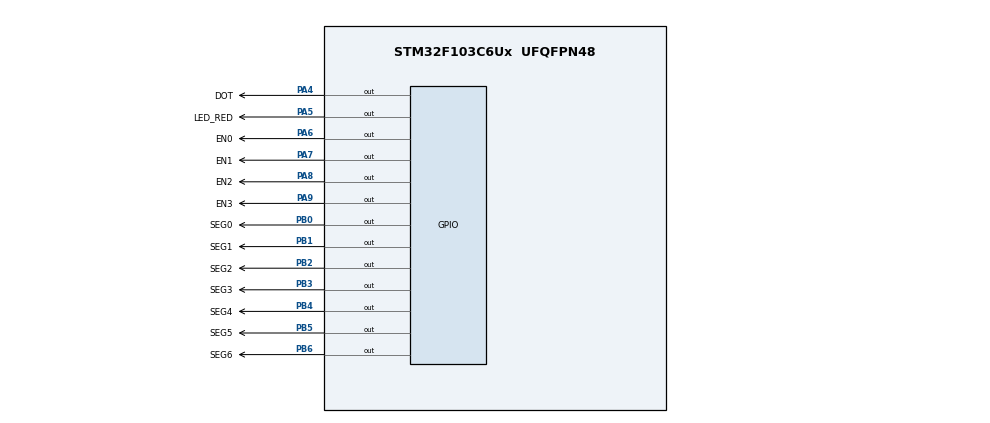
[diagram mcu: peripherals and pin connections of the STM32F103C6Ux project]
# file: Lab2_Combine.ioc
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Mcu.Family=STM32F1
Mcu.Name=STM32F103C6Ux
Mcu.Package=UFQFPN48
NVIC.PriorityGroup=NVIC_PRIORITYGROUP_4
NVIC.TIM2_IRQn=true\:0\:0\:false\:false\:true\:true\:true\:true
PA4.GPIO_Label=DOT
PA4.Signal=GPIO_Output
PA5.GPIO_Label=LED_RED
PA5.Signal=GPIO_Output
PA6.GPIO_Label=EN0
PA6.Signal=GPIO_Output
PA7.GPIO_Label=EN1
PA7.Signal=GPIO_Output
PA8.GPIO_Label=EN2
PA8.Signal=GPIO_Output
PA9.GPIO_Label=EN3
PA9.Signal=GPIO_Output
PB0.GPIO_Label=SEG0
PB0.Signal=GPIO_Output
PB1.GPIO_Label=SEG1
PB1.Signal=GPIO_Output
PB2.GPIO_Label=SEG2
PB2.Signal=GPIO_Output
PB3.GPIO_Label=SEG3
PB3.Signal=GPIO_Output
PB4.GPIO_Label=SEG4
PB4.Signal=GPIO_Output
PB5.GPIO_Label=SEG5
PB5.Signal=GPIO_Output
PB6.GPIO_Label=SEG6
PB6.Signal=GPIO_Output
ProjectManager.HeapSize=0x200
ProjectManager.StackSize=0x400
ProjectManager.TargetToolchain=STM32CubeIDE
RCC.APB1Freq_Value=8000000
RCC.APB2Freq_Value=8000000
TIM2.Period=9
TIM2.Prescaler=7999
VP_TIM2_VS_ClockSourceINT.Mode=Internal
board=custom

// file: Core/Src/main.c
/* USER CODE BEGIN Header */
/**
  ******************************************************************************
  * @file           : main.c
  * @brief          : Main program body
  ******************************************************************************
  * @attention
  *
  * Copyright (c) 2022 STMicroelectronics.
  * All rights reserved.
  *
  * This software is licensed under terms that can be found in the LICENSE file
  * in the root directory of this software component.
  * If no LICENSE file comes with this software, it is provided AS-IS.
  *
  ******************************************************************************
  */
/* USER CODE END Header */
#include "main.h"

/* USER CODE BEGIN Includes */
#include "software_timer.h"
/* USER CODE END Includes */

/* USER CODE BEGIN PD */
#define END         0
#define RUN_TIME    100
/* USER CODE END PD */

TIM_HandleTypeDef htim2;

/* USER CODE BEGIN PV */
const int MAX_LED = 4;
int counter = RUN_TIME;
int index_led = 0;
int led_buffer[4] = {1, 2, 3, 4};
int hour = 12, minute = 34, second = 58;
static uint8_t LED7_SEG[10] = {0xC0, 0xF9, 0xA4, 0xB0, 0x99, 0x92, 0x82, 0xF8, 0x80, 0x90};
/* USER CODE END PV */

void SystemClock_Config(void);

static void MX_GPIO_Init(void);

static void MX_TIM2_Init(void);

/* USER CODE BEGIN 0 */
void display7SEG(int index) {
    HAL_GPIO_WritePin(GPIOB, GPIO_PIN_0, ((LED7_SEG[index] >> 0) & 0x01));
    HAL_GPIO_WritePin(GPIOB, GPIO_PIN_1, ((LED7_SEG[index] >> 1) & 0x01));
    HAL_GPIO_WritePin(GPIOB, GPIO_PIN_2, ((LED7_SEG[index] >> 2) & 0x01));
    HAL_GPIO_WritePin(GPIOB, GPIO_PIN_3, ((LED7_SEG[index] >> 3) & 0x01));
    HAL_GPIO_WritePin(GPIOB, GPIO_PIN_4, ((LED7_SEG[index] >> 4) & 0x01));
    HAL_GPIO_WritePin(GPIOB, GPIO_PIN_5, ((LED7_SEG[index] >> 5) & 0x01));
    HAL_GPIO_WritePin(GPIOB, GPIO_PIN_6, ((LED7_SEG[index] >> 6) & 0x01));
}

void enable7SEG(int index) {
    switch (index) {
        case 0: {
            HAL_GPIO_WritePin(EN0_GPIO_Port, EN0_Pin, RESET);
            HAL_GPIO_WritePin(EN1_GPIO_Port, EN1_Pin, SET);
            HAL_GPIO_WritePin(EN2_GPIO_Port, EN2_Pin, SET);
            HAL_GPIO_WritePin(EN3_GPIO_Port, EN3_Pin, SET);
            break;
        }
        case 1: {
            HAL_GPIO_WritePin(EN0_GPIO_Port, EN0_Pin, SET);
            HAL_GPIO_WritePin(EN1_GPIO_Port, EN1_Pin, RESET);
            HAL_GPIO_WritePin(EN2_GPIO_Port, EN2_Pin, SET);
            HAL_GPIO_WritePin(EN3_GPIO_Port, EN3_Pin, SET);
            break;
        }
        case 2: {
            HAL_GPIO_WritePin(EN0_GPIO_Port, EN0_Pin, SET);
            HAL_GPIO_WritePin(EN1_GPIO_Port, EN1_Pin, SET);
            HAL_GPIO_WritePin(EN2_GPIO_Port, EN2_Pin, RESET);
            HAL_GPIO_WritePin(EN3_GPIO_Port, EN3_Pin, SET);
            break;
        }
        case 3:
            HAL_GPIO_WritePin(EN0_GPIO_Port, EN0_Pin, SET);
            HAL_GPIO_WritePin(EN1_GPIO_Port, EN1_Pin, SET);
            HAL_GPIO_WritePin(EN2_GPIO_Port, EN2_Pin, SET);
            HAL_GPIO_WritePin(EN3_GPIO_Port, EN3_Pin, RESET);
            break;
        default:
            break;
    }
}

//void update7SEG(int index) {
//    switch (index) {
//        case 0:
//            // Display the first 7 SEG with led_buffer [0]
//            enable7SEG(index);
//            display7SEG(led_buffer[index]);
//            break;
//        case 1:
//            // Display the second 7 SEG with led_buffer [1]
//            enable7SEG(index);
//            display7SEG(led_buffer[index]);
//            break;
//        case 2:
//            // Displ the third 7 SEG with led_buffer [2]
//            enable7SEG(index);
//            display7SEG(led_buffer[index]);
//            break;
//        case 3:
//            // Display the forth 7 SEG with led_buffer [3]
//            enable7SEG(index);
//            display7SEG(led_buffer[index]);
//            break;
//        default :
//            break;
//    }
//}

void updateClockBuffer() {
    led_buffer[0] = hour / 10;
    led_buffer[1] = hour % 10;
    led_buffer[2] = minute / 10;
    led_buffer[3] = minute % 10;
}
/* USER CODE END 0 */

int main(void) {

    /* MCU Configuration--------------------------------------------------------*/

    /* Reset of all peripherals, Initializes the Flash interface and the Systick. */
    HAL_Init();

    /* Configure the system clock */
    SystemClock_Config();

    /* Initialize all configured peripherals */
    MX_GPIO_Init();
    MX_TIM2_Init();
    /* USER CODE BEGIN 2 */
    HAL_TIM_Base_Start_IT(&htim2);
    /* USER CODE END 2 */

    /* Infinite loop */
    /* USER CODE BEGIN WHILE */
    setTimer0(RUN_TIME);
    while (1) {
        if (timer0_flag == 1) {
            if (index_led == 0) {
                second++;
                if (second >= 60) {
                    second = 0;
                    minute++;
                }
                if (minute >= 60) {
                    minute = 0;
                    hour++;
                }
                if (hour >= 24) {
                    hour = 0;
                }
                updateClockBuffer();
            }
            HAL_GPIO_TogglePin(LED_RED_GPIO_Port, LED_RED_Pin);
            if (index_led == 2 || index_led == 0) {
                HAL_GPIO_TogglePin(DOT_GPIO_Port, DOT_Pin);
            }
//            update7SEG(index_led++);
            enable7SEG(index_led);
            display7SEG(led_buffer[index_led++]);
            if (index_led > 3) {
                index_led = 0;
            }
            setTimer0(RUN_TIME);
        }
    }
}

void SystemClock_Config(void) {
    RCC_OscInitTypeDef RCC_OscInitStruct = {0};
    RCC_ClkInitTypeDef RCC_ClkInitStruct = {0};

    /** Initializes the RCC Oscillators according to the specified parameters
    * in the RCC_OscInitTypeDef structure.
    */
    RCC_OscInitStruct.OscillatorType = RCC_OSCILLATORTYPE_HSI;
    RCC_OscInitStruct.HSIState = RCC_HSI_ON;
    RCC_OscInitStruct.HSICalibrationValue = RCC_HSICALIBRATION_DEFAULT;
    RCC_OscInitStruct.PLL.PLLState = RCC_PLL_NONE;
    if (HAL_RCC_OscConfig(&RCC_OscInitStruct) != HAL_OK) {
        Error_Handler();
    }

    /** Initializes the CPU, AHB and APB buses clocks
    */
    RCC_ClkInitStruct.ClockType = RCC_CLOCKTYPE_HCLK | RCC_CLOCKTYPE_SYSCLK
                                  | RCC_CLOCKTYPE_PCLK1 | RCC_CLOCKTYPE_PCLK2;
    RCC_ClkInitStruct.SYSCLKSource = RCC_SYSCLKSOURCE_HSI;
    RCC_ClkInitStruct.AHBCLKDivider = RCC_SYSCLK_DIV1;
    RCC_ClkInitStruct.APB1CLKDivider = RCC_HCLK_DIV1;
    RCC_ClkInitStruct.APB2CLKDivider = RCC_HCLK_DIV1;

    if (HAL_RCC_ClockConfig(&RCC_ClkInitStruct, FLASH_LATENCY_0) != HAL_OK) {
        Error_Handler();
    }
}

static void MX_TIM2_Init(void) {

    TIM_ClockConfigTypeDef sClockSourceConfig = {0};
    TIM_MasterConfigTypeDef sMasterConfig = {0};

    htim2.Instance = TIM2;
    htim2.Init.Prescaler = 7999;
    htim2.Init.CounterMode = TIM_COUNTERMODE_UP;
    htim2.Init.Period = 9;
    htim2.Init.ClockDivision = TIM_CLOCKDIVISION_DIV1;
    htim2.Init.AutoReloadPreload = TIM_AUTORELOAD_PRELOAD_DISABLE;
    if (HAL_TIM_Base_Init(&htim2) != HAL_OK) {
        Error_Handler();
    }
    sClockSourceConfig.ClockSource = TIM_CLOCKSOURCE_INTERNAL;
    if (HAL_TIM_ConfigClockSource(&htim2, &sClockSourceConfig) != HAL_OK) {
        Error_Handler();
    }
    sMasterConfig.MasterOutputTrigger = TIM_TRGO_RESET;
    sMasterConfig.MasterSlaveMode = TIM_MASTERSLAVEMODE_DISABLE;
    if (HAL_TIMEx_MasterConfigSynchronization(&htim2, &sMasterConfig) != HAL_OK) {
        Error_Handler();
    }

}

static void MX_GPIO_Init(void) {
    GPIO_InitTypeDef GPIO_InitStruct = {0};

    /* GPIO Ports Clock Enable */
    __HAL_RCC_GPIOA_CLK_ENABLE();
    __HAL_RCC_GPIOB_CLK_ENABLE();

    /*Configure GPIO pin Output Level */
    HAL_GPIO_WritePin(GPIOA, DOT_Pin | LED_RED_Pin | EN0_Pin | EN1_Pin
                             | EN2_Pin | EN3_Pin, GPIO_PIN_RESET);

    /*Configure GPIO pin Output Level */
    HAL_GPIO_WritePin(GPIOB, SEG0_Pin | SEG1_Pin | SEG2_Pin | SEG3_Pin
                             | SEG4_Pin | SEG5_Pin | SEG6_Pin, GPIO_PIN_RESET);

    /*Configure GPIO pins : DOT_Pin LED_RED_Pin EN0_Pin EN1_Pin
                             EN2_Pin EN3_Pin */
    GPIO_InitStruct.Pin = DOT_Pin | LED_RED_Pin | EN0_Pin | EN1_Pin
                          | EN2_Pin | EN3_Pin;
    GPIO_InitStruct.Mode = GPIO_MODE_OUTPUT_PP;
    GPIO_InitStruct.Pull = GPIO_NOPULL;
    GPIO_InitStruct.Speed = GPIO_SPEED_FREQ_LOW;
    HAL_GPIO_Init(GPIOA, &GPIO_InitStruct);

    /*Configure GPIO pins : SEG0_Pin SEG1_Pin SEG2_Pin SEG3_Pin
                             SEG4_Pin SEG5_Pin SEG6_Pin */
    GPIO_InitStruct.Pin = SEG0_Pin | SEG1_Pin | SEG2_Pin | SEG3_Pin
                          | SEG4_Pin | SEG5_Pin | SEG6_Pin;
    GPIO_InitStruct.Mode = GPIO_MODE_OUTPUT_PP;
    GPIO_InitStruct.Pull = GPIO_NOPULL;
    GPIO_InitStruct.Speed = GPIO_SPEED_FREQ_LOW;
    HAL_GPIO_Init(GPIOB, &GPIO_InitStruct);

}

/* USER CODE BEGIN 4 */
void HAL_TIM_PeriodElapsedCallback(TIM_HandleTypeDef *htim) {
    timer_run();
}
/* USER CODE END 4 */

void Error_Handler(void) {
    __disable_irq();
    while (1) {
    }
}
